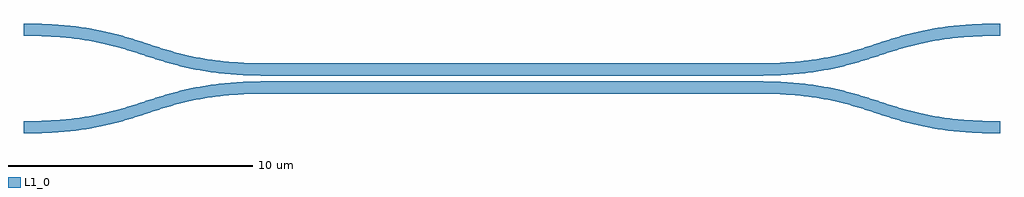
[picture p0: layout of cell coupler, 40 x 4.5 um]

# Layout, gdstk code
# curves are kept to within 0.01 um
import gdstk
lib = gdstk.Library(unit=1e-6, precision=1e-09)
def R(c, l, rs):  # rectangles x0, y0, x1, y1
    for r in rs: c.add(gdstk.rectangle(r[:2], r[2:], *l))
def P(c, l, *ps):  # polygons
    for p in ps: c.add(gdstk.Polygon(p, *l))
L1_0 = (1, 0)

coupler = lib.new_cell('coupler')
R(coupler, L1_0, [(0,-0.25,20,0.25), (0,0.486,20,0.986)])
P(coupler, L1_0, [(0,0.25),(-0.736,0.238),(-1.403,0.202),(-2.123,0.132),(-2.665,0.054),(-3.256,-0.059),(-3.796,-0.189),(-4.456,-0.379),(-6.086,-0.893),(-6.586,-1.024),(-7.126,-1.141),(-7.83,-1.254),(-8.511,-1.326),(-9.146,-1.365),(-10,-1.382),(-10,-1.882),(-9.264,-1.87),(-8.597,-1.834),(-7.877,-1.764),(-7.335,-1.686),(-6.744,-1.573),(-6.204,-1.443),(-5.544,-1.253),(-3.914,-0.739),(-3.414,-0.608),(-2.874,-0.491),(-2.17,-0.378),(-1.489,-0.306),(-0.854,-0.267),(0,-0.25)],
  [(0,0.486),(-0.736,0.498),(-1.403,0.534),(-2.123,0.604),(-2.665,0.682),(-3.256,0.795),(-3.796,0.925),(-4.456,1.115),(-6.086,1.629),(-6.586,1.76),(-7.126,1.877),(-7.83,1.99),(-8.511,2.062),(-9.146,2.101),(-10,2.118),(-10,2.618),(-9.264,2.606),(-8.597,2.57),(-7.877,2.5),(-7.335,2.422),(-6.744,2.309),(-6.204,2.179),(-5.544,1.989),(-3.914,1.475),(-3.414,1.344),(-2.874,1.227),(-2.17,1.114),(-1.489,1.042),(-0.854,1.003),(0,0.986)],
  [(20,0.486),(20.736,0.498),(21.403,0.534),(22.123,0.604),(22.665,0.682),(23.256,0.795),(23.796,0.925),(24.456,1.115),(26.086,1.629),(26.586,1.76),(27.126,1.877),(27.83,1.99),(28.511,2.062),(29.146,2.101),(30,2.118),(30,2.618),(29.264,2.606),(28.597,2.57),(27.877,2.5),(27.335,2.422),(26.744,2.309),(26.204,2.179),(25.544,1.989),(23.914,1.475),(23.414,1.344),(22.874,1.227),(22.17,1.114),(21.489,1.042),(20.854,1.003),(20,0.986)],
  [(20,0.25),(20.736,0.238),(21.403,0.202),(22.123,0.132),(22.665,0.054),(23.256,-0.059),(23.796,-0.189),(24.456,-0.379),(26.086,-0.893),(26.586,-1.024),(27.126,-1.141),(27.83,-1.254),(28.511,-1.326),(29.146,-1.365),(30,-1.382),(30,-1.882),(29.264,-1.87),(28.597,-1.834),(27.877,-1.764),(27.335,-1.686),(26.744,-1.573),(26.204,-1.443),(25.544,-1.253),(23.914,-0.739),(23.414,-0.608),(22.874,-0.491),(22.17,-0.378),(21.489,-0.306),(20.854,-0.267),(20,-0.25)])

lib.write_gds('coupler.gds')
